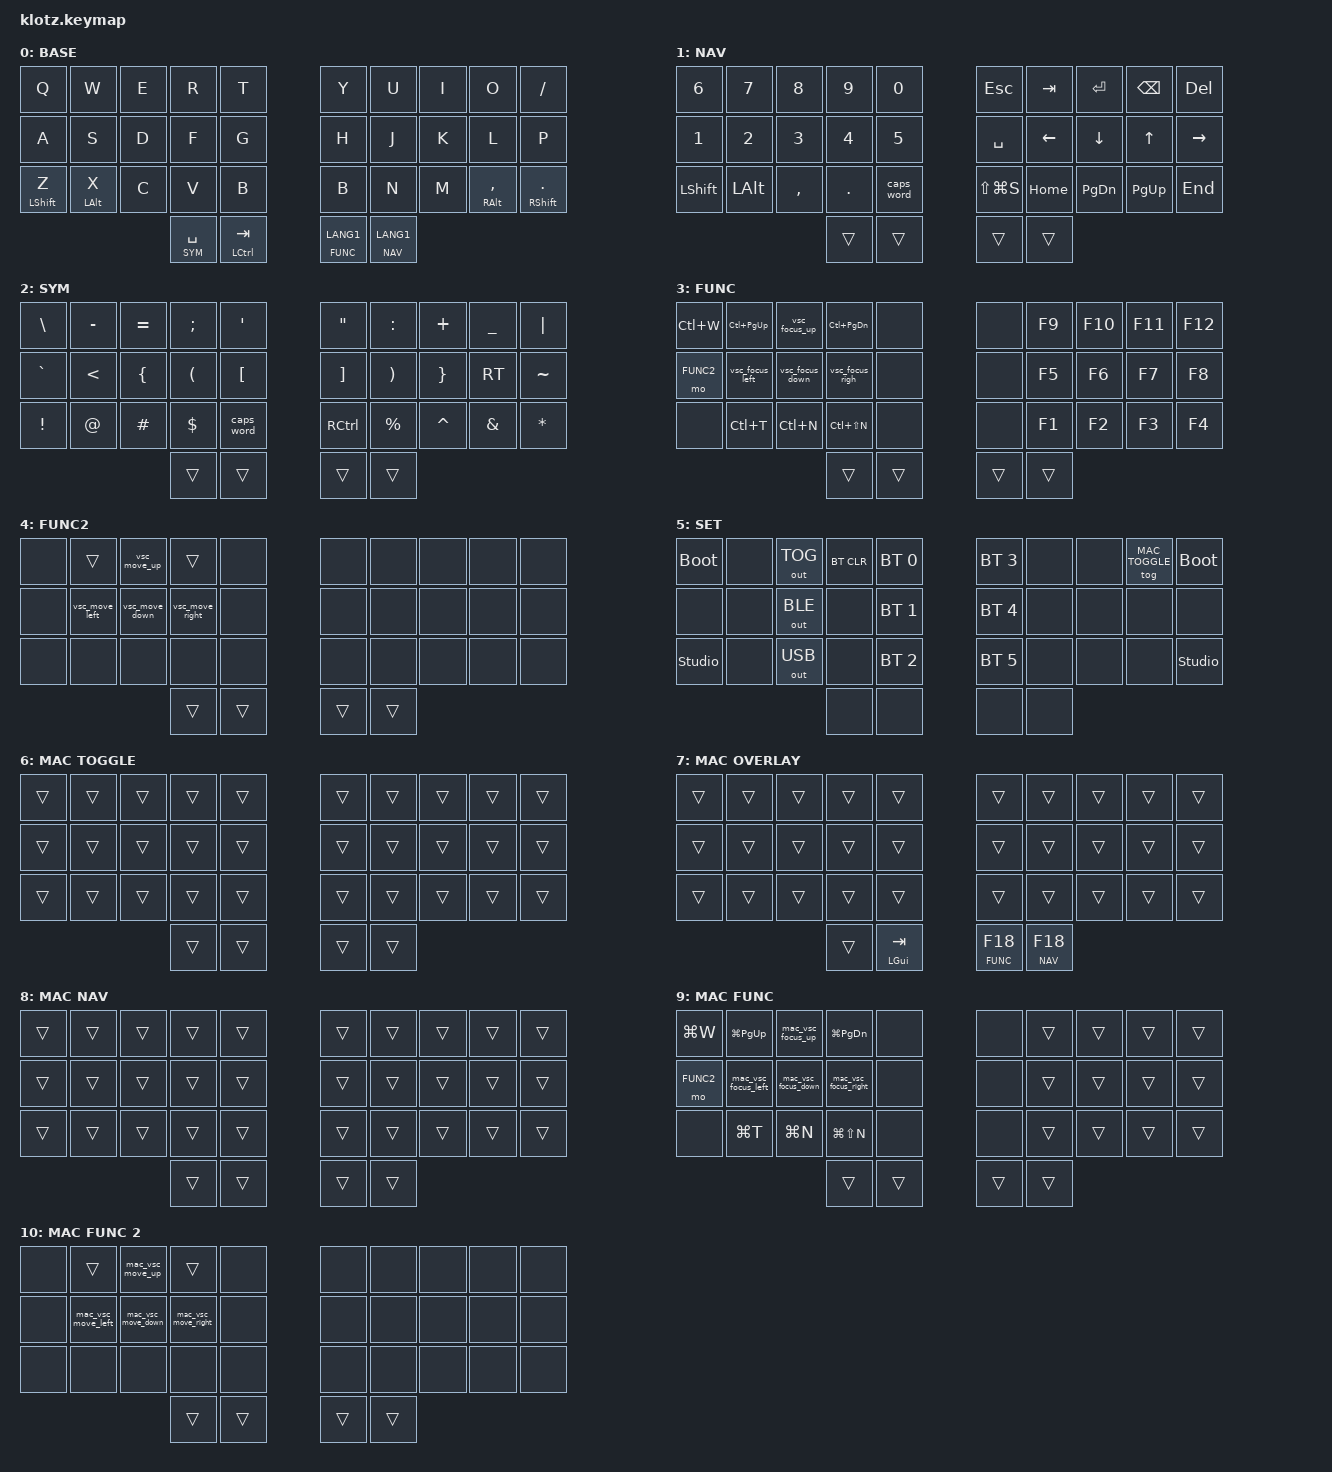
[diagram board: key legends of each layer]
#include <behaviors.dtsi>
#include <dt-bindings/zmk/keys.h>
#include <dt-bindings/zmk/bt.h>
#include <dt-bindings/zmk/outputs.h>

// LAYER
#define BASE 0
#define NAV 1
#define SYM 2
#define FUNC 3
#define FUNC2 4
#define SETTINGS 5
#define MAC_TOGGLE 6
#define MAC_OVERLAY 7
#define MAC_NAV 8
#define MAC_FUNC 9
#define MAC_FUNC2 10

// ALIASES
#define vsc_focus_righ vsc_focus_right

&sk {
	ignore-modifiers;
};

&mt {
    quick-tap-ms = <100>;
    flavor = "tap-preferred";
    tapping-term-ms = <135>;
};

&lt {
    quick-tap-ms = <100>;
    tapping-term-ms = <135>;
};


/ {
	behaviors {
		qt: quick_tap {
			compatible = "zmk,behavior-hold-tap";
			#binding-cells = <2>;
			flavor = "hold-preferred";
			tapping-term-ms = <200>;
			quick-tap-ms = <200>;
			bindings = <&kp>, <&kp>;
		};

		ht_bootloader: ht_bootloader {
			compatible = "zmk,behavior-hold-tap";
			#binding-cells = <2>;
			flavor = "hold-preferred";
			tapping-term-ms = <5000>;
			bindings = <&bootloader>, <&none>;
		};
	};

	conditional_layers {
		compatible = "zmk,conditional-layers";

		mac_base_mode {
			if-layers = <MAC_TOGGLE>;
			then-layer = <MAC_OVERLAY>;
		};

		mac_nav_mode {
			if-layers = <NAV MAC_TOGGLE>;
			then-layer = <MAC_NAV>;
		};


		mac_func_mode {
			if-layers = <FUNC MAC_TOGGLE>;
			then-layer = <MAC_FUNC>;
		};

		mac_func2_mode {
			if-layers = <FUNC2 MAC_TOGGLE>;
			then-layer = <MAC_FUNC2>;
		};
	};

	macros {
		// vscode shortcut -- windows
		vsc_focus_left: vsc_focus_left {
			compatible = "zmk,behavior-macro";
			#binding-cells = <0>;
			bindings = <&kp LC(K) &kp LC(LEFT)>;
		};

		vsc_focus_down: vsc_focus_down {
			compatible = "zmk,behavior-macro";
			#binding-cells = <0>;
			bindings = <&kp LC(K) &kp LC(DOWN)>;
		};

		vsc_focus_right: vsc_focus_right {
			compatible = "zmk,behavior-macro";
			#binding-cells = <0>;
			bindings = <&kp LC(K) &kp LC(RIGHT)>;
		};

		vsc_focus_up: vsc_focus_up {
			compatible = "zmk,behavior-macro";
			#binding-cells = <0>;
			bindings = <&kp LC(K) &kp LC(UP)>;
		};

		vsc_move_left: vsc_move_left {
			compatible = "zmk,behavior-macro";
			#binding-cells = <0>;
			bindings = <&kp LC(K) &kp LEFT>;
		};

		vsc_move_down: vsc_move_down {
			compatible = "zmk,behavior-macro";
			#binding-cells = <0>;
			bindings = <&kp LC(K) &kp DOWN>;
		};

		vsc_move_right: vsc_move_right {
			compatible = "zmk,behavior-macro";
			#binding-cells = <0>;
			bindings = <&kp LC(K) &kp RIGHT>;
		};

		vsc_move_up: vsc_move_up {
			compatible = "zmk,behavior-macro";
			#binding-cells = <0>;
			bindings = <&kp LC(K) &kp UP>;
		};

		// vscode -- macos
		mac_vsc_focus_left: mac_vsc_focus_left {
			compatible = "zmk,behavior-macro";
			#binding-cells = <0>;
			bindings = <&kp LG(K) &kp LG(LEFT)>;
		};

		mac_vsc_focus_down: mac_vsc_focus_down {
			compatible = "zmk,behavior-macro";
			#binding-cells = <0>;
			bindings = <&kp LG(K) &kp LG(DOWN)>;
		};

		mac_vsc_focus_right: mac_vsc_focus_right {
			compatible = "zmk,behavior-macro";
			#binding-cells = <0>;
			bindings = <&kp LG(K) &kp LG(RIGHT)>;
		};

		mac_vsc_focus_up: mac_vsc_focus_up {
			compatible = "zmk,behavior-macro";
			#binding-cells = <0>;
			bindings = <&kp LG(K) &kp LG(UP)>;
		};

		mac_vsc_move_left: mac_vsc_move_left {
			compatible = "zmk,behavior-macro";
			#binding-cells = <0>;
			bindings = <&kp LG(K) &kp LG(LEFT)>;
		};

		mac_vsc_move_down: mac_vsc_move_down {
			compatible = "zmk,behavior-macro";
			#binding-cells = <0>;
			bindings = <&kp LG(K) &kp LG(DOWN)>;
		};

		mac_vsc_move_right: mac_vsc_move_right {
			compatible = "zmk,behavior-macro";
			#binding-cells = <0>;
			bindings = <&kp LG(K) &kp LG(RIGHT)>;
		};

		mac_vsc_move_up: mac_vsc_move_up {
			compatible = "zmk,behavior-macro";
			#binding-cells = <0>;
			bindings = <&kp LG(K) &kp LG(UP)>;
		};

		// shortcut for macos
		mac_app_switch: mac_app_switch {
			compatible = "zmk,behavior-macro";
			#binding-cells = <0>;
			bindings = <&kp LG(TAB)>;
		};

		mac_spotlight: mac_spotlight {
			compatible = "zmk,behavior-macro";
			#binding-cells = <0>;
			bindings = <&kp LG(SPACE)>;
		};

		mac_mission_control: mac_mission_control {
			compatible = "zmk,behavior-macro";
			#binding-cells = <0>;
			bindings = <&kp F3>;
		};

		mac_screenshot: mac_screenshot {
			compatible = "zmk,behavior-macro";
			#binding-cells = <0>;
			bindings = <&kp LG(LS(N4))>;
		};

		mac_partial_screenshot: mac_partial_screenshot {
			compatible = "zmk,behavior-macro";
			#binding-cells = <0>;
			bindings = <&kp LG(LS(N3))>;
		};
	};

	combos {
		compatible = "zmk,combos";

		combo_capsword {
			timeout-ms = <50>;
			key-positions = <20 29>;
			bindings = <&caps_word>;
		};

		combo_left_thumb {
			timeout-ms = <80>;
			key-positions = <30 31>;
			bindings = <&mt LGUI ESC>;
		};

		combo_right_thumb {
			timeout-ms = <80>;
			key-positions = <32 33>;
			bindings = <&kp DEL>;
		};

		combo_settings {
			timeout-ms = <200>;
			key-positions = <31 32>;
			bindings = <&mo SETTINGS>;
		};

		combo_macos_toggle {
			timeout-ms = <100>;
			key-positions = <0 1 2>;
			bindings = <&tog MAC_TOGGLE>;
		};
	};

	keymap {
		compatible = "zmk,keymap";
		default_layer {
		label= "BASE";
			bindings = <
				//              ╷               ╷               ╷               ╷               ╷   ╷               ╷               ╷               ╷               ╷               ╷
				&kp Q           &kp W           &kp E           &kp R           &kp T               &kp Y           &kp U           &kp I           &kp O           &kp SLASH
				&kp A           &kp S           &kp D           &kp F           &kp G               &kp H           &kp J           &kp K           &kp L           &kp P
				&mt LSHFT Z     &mt LALT X      &kp C           &kp V           &kp B               &kp B           &kp N           &kp M           &mt RALT COMMA  &mt RSHIFT DOT
																												&lt SYM SPACE   &mt LCTRL TAB       &lt FUNC LANG1  &lt NAV LANG1
			>;
		};

		nav_layer {
			label= "NAV";
			bindings = <
				//              ╷               ╷               ╷               ╷               ╷   ╷               ╷               ╷               ╷               ╷               ╷
				&kp N6 		      &kp N7		      &kp NUMBER_8    &kp N9     	    &kp N0              &kp ESC         &kp TAB         &kp ENTER       &kp BACKSPACE   &kp DEL
				&kp N1          &kp N2     	    &kp N3     		  &kp N4     	    &kp N5              &kp SPACE       &kp LEFT        &kp DOWN        &kp UP          &kp RIGHT
				&kp LSHFT 	    &kp LALT        &kp COMMA       &kp DOT         &caps_word          &kp LS(LG(S))   &kp HOME        &kp PAGE_DOWN   &kp PAGE_UP     &kp END
																												&trans		      &trans  		        &trans          &trans
			>;
		};


		sym_layer {
			label= "SYM";
			bindings = <
				//              ╷               ╷               ╷               ╷               ╷   ╷               ╷               ╷               ╷               ╷               ╷
				&kp BSLH        &kp MINUS	      &kp EQUAL       &kp SEMI        &kp SQT             &kp DQT         &kp COLON       &kp PLUS        &kp UNDER	      &kp PIPE
				&kp GRAVE	      &kp LT          &kp LBRC        &kp LPAR        &kp LBKT            &kp RBKT        &kp RPAR        &kp RBRC	      &kp RT          &kp TILDE
				&kp EXCLAMATION &kp AT_SIGN     &kp HASH        &kp DOLLAR      &caps_word          &kp RCTRL       &kp PERCENT     &kp CARET       &kp AMPERSAND   &kp ASTERISK
																												&trans		     	&trans  		          &trans		    &trans
			>;
		};

		func_layer {
			label= "FUNC";
			bindings = <
				//              ╷               ╷               ╷               ╷               ╷   ╷               ╷               ╷               ╷               ╷               ╷
				&kp LC(W)	     &kp LC(PAGE_UP)  &vsc_focus_up   &kp LC(PG_DN)   &none               &none           &kp F9          &kp F10         &kp F11	        &kp F12
				&mo FUNC2      &vsc_focus_left  &vsc_focus_down &vsc_focus_righ &none               &none           &kp F5          &kp F6	        &kp F7          &kp F8
				&none 	       &kp LC(T)        &kp LC(N)       &kp LC(LS(N))  	&none               &none           &kp F1          &kp F2          &kp F3          &kp F4
																												&trans		      &trans  	          &trans          &trans
			>;
		};

		func_2_layer {
			label= "FUNC2";
			bindings = <
				//              ╷               ╷               ╷               ╷               ╷   ╷               ╷               ╷               ╷               ╷               ╷
				&none           &trans          &vsc_move_up    &trans          &none               &none           &none           &none           &none           &none
				&none           &vsc_move_left  &vsc_move_down  &vsc_move_right &none               &none           &none           &none           &none           &none
				&none           &none           &none           &none           &none               &none           &none           &none           &none           &none
																												&trans          &trans              &trans          &trans
			>;
		};

		settings_layer {
			label= "SET";
			bindings = <
				//              ╷               ╷               ╷               ╷               ╷   ╷               ╷               ╷               ╷               ╷               ╷
				&bootloader     &none           &out OUT_TOG    &bt BT_CLR      &bt BT_SEL 0        &bt BT_SEL 3    &none           &none           &tog MAC_TOGGLE &bootloader
				&none           &none           &out OUT_BLE    &none           &bt BT_SEL 1        &bt BT_SEL 4    &none           &none           &none           &none
				&studio_unlock  &none           &out OUT_USB    &none           &bt BT_SEL 2        &bt BT_SEL 5    &none           &none           &none           &studio_unlock
																												&none           &none               &none           &none
			>;
		};

		mac_toggle_layer {
			label= "MAC TOGGLE";
			bindings = <
					&trans          &trans          &trans          &trans          &trans              &trans          &trans          &trans          &trans          &trans
					&trans          &trans          &trans          &trans          &trans              &trans          &trans          &trans          &trans          &trans
					&trans          &trans          &trans          &trans          &trans              &trans          &trans          &trans          &trans          &trans
																													&trans          &trans              &trans          &trans
			>;
		};

		mac_overlay_layer {
			label= "MAC OVERLAY";
			bindings = <
				//              ╷               ╷               ╷               ╷               ╷   ╷               ╷               ╷               ╷               ╷               ╷
				&trans          &trans          &trans          &trans          &trans              &trans          &trans          &trans          &trans          &trans
				&trans          &trans          &trans          &trans          &trans              &trans          &trans          &trans          &trans          &trans
				&trans          &trans          &trans          &trans          &trans              &trans          &trans          &trans          &trans          &trans
																												&trans          &mt LGUI TAB        &lt FUNC F18    &lt NAV F18
			>;
		};

		mac_nav_layer {
			label= "MAC NAV";
			bindings = <
				//              ╷               ╷               ╷               ╷               ╷   ╷               ╷               ╷               ╷               ╷               ╷
				&trans          &trans          &trans          &trans          &trans              &trans          &trans          &trans          &trans          &trans
				&trans          &trans          &trans          &trans          &trans              &trans          &trans          &trans          &trans          &trans
				&trans          &trans          &trans          &trans          &trans              &trans          &trans          &trans          &trans          &trans
																												&trans          &trans              &trans          &trans
				>;
			};


		mac_func_layer {
			label= "MAC FUNC";
			bindings = <
				&kp LG(W)       &kp LG(PAGE_UP)   	&mac_vsc_focus_up   &kp LG(PAGE_DOWN)     &none       &none           &trans          &trans          &trans	        &trans
				&mo FUNC2       &mac_vsc_focus_left &mac_vsc_focus_down &mac_vsc_focus_right  &none       &none           &trans          &trans          &trans         &trans
				&none           &kp LG(T)         	&kp LG(N)           &kp LG(LS(N))         &none       &none           &trans          &trans          &trans         &trans
																																&trans                &trans      &trans          &trans
			>;
			};

		mac_func2_layer {
			label= "MAC FUNC 2";
			bindings = <
				&none        &trans             &mac_vsc_move_up    &trans              &none       &none        &none        &none        &none        &none
				&none        &mac_vsc_move_left &mac_vsc_move_down  &mac_vsc_move_right &none       &none        &none        &none        &none        &none
				&none        &none              &none               &none               &none       &none        &none        &none        &none        &none
																														&trans              &trans      &trans       &trans
			>;
		};
	};
};
